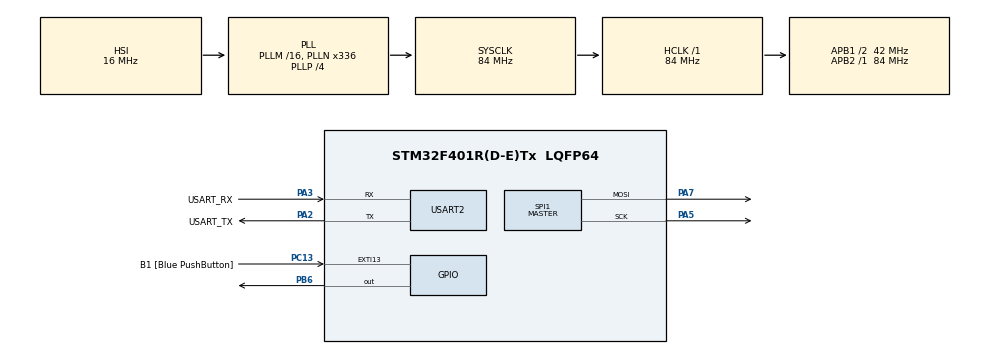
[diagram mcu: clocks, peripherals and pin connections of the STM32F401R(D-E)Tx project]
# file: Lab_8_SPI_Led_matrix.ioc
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Mcu.Family=STM32F4
Mcu.Name=STM32F401R(D-E)Tx
Mcu.Package=LQFP64
NVIC.PriorityGroup=NVIC_PRIORITYGROUP_0
NVIC.TIM1_UP_TIM10_IRQn=true\:0\:0\:false\:false\:true\:true\:true\:true
PA13.GPIO_Label=TMS
PA13.Mode=Serial_Wire
PA13.Signal=SYS_JTMS-SWDIO
PA14.GPIO_Label=TCK
PA14.Mode=Serial_Wire
PA14.Signal=SYS_JTCK-SWCLK
PA2.GPIO_Label=USART_TX
PA2.GPIO_Mode=GPIO_MODE_AF_PP
PA2.GPIO_PuPd=GPIO_NOPULL
PA2.GPIO_Speed=GPIO_SPEED_FREQ_LOW
PA2.Mode=Asynchronous
PA2.Signal=USART2_TX
PA3.GPIO_Label=USART_RX
PA3.GPIO_Mode=GPIO_MODE_AF_PP
PA3.GPIO_PuPd=GPIO_NOPULL
PA3.GPIO_Speed=GPIO_SPEED_FREQ_LOW
PA3.Mode=Asynchronous
PA3.Signal=USART2_RX
PA5.Mode=TX_Only_Simplex_Unidirect_Master
PA5.Signal=SPI1_SCK
PA7.Mode=TX_Only_Simplex_Unidirect_Master
PA7.Signal=SPI1_MOSI
PB3.GPIO_Label=SWO
PB3.Signal=SYS_JTDO-SWO
PB6.Signal=GPIO_Output
PC13-ANTI_TAMP.GPIO_Label=B1 [Blue PushButton]
PC13-ANTI_TAMP.GPIO_ModeDefaultEXTI=GPIO_MODE_IT_FALLING
PC13-ANTI_TAMP.GPIO_PuPd=GPIO_NOPULL
PC13-ANTI_TAMP.Signal=GPXTI13
PC14-OSC32_IN.Mode=LSE-External-Oscillator
PC14-OSC32_IN.Signal=RCC_OSC32_IN
PC15-OSC32_OUT.Mode=LSE-External-Oscillator
PC15-OSC32_OUT.Signal=RCC_OSC32_OUT
PH0\ -\ OSC_IN.Mode=HSE-External-Clock-Source
PH0\ -\ OSC_IN.Signal=RCC_OSC_IN
PH1\ -\ OSC_OUT.Mode=HSE-External-Clock-Source
PH1\ -\ OSC_OUT.Signal=RCC_OSC_OUT
ProjectManager.HeapSize=0x200
ProjectManager.StackSize=0x400
ProjectManager.TargetToolchain=STM32CubeIDE
RCC.48MHZClocksFreq_Value=48000000
RCC.AHBFreq_Value=84000000
RCC.APB1CLKDivider=RCC_HCLK_DIV2
RCC.APB1Freq_Value=42000000
RCC.APB1TimFreq_Value=84000000
RCC.APB2Freq_Value=84000000
RCC.APB2TimFreq_Value=84000000
RCC.CortexFreq_Value=84000000
RCC.HCLKFreq_Value=84000000
RCC.HSE_VALUE=8000000
RCC.HSI_VALUE=16000000
RCC.PLLN=336
RCC.PLLP=RCC_PLLP_DIV4
RCC.PLLQ=7
RCC.SYSCLKFreq_VALUE=84000000
RCC.SYSCLKSource=RCC_SYSCLKSOURCE_PLLCLK
RCC.VCOOutputFreq_Value=336000000
SPI1.BaudRatePrescaler=SPI_BAUDRATEPRESCALER_4
SPI1.Direction=SPI_DIRECTION_2LINES
SPI1.Mode=SPI_MODE_MASTER
SPI1.VirtualType=VM_MASTER
TIM10.Period=4000-1
TIM10.Prescaler=84-1
USART2.VirtualMode=VM_ASYNC
VP_TIM10_VS_ClockSourceINT.Mode=Enable_Timer
board=NUCLEO-F401RE

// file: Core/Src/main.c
/* USER CODE BEGIN Header */
/**
  ******************************************************************************
  * @file           : main.c
  * @brief          : Main program body
  ******************************************************************************
  * @attention
  *
  * Copyright (c) 2023 STMicroelectronics.
  * All rights reserved.
  *
  * This software is licensed under terms that can be found in the LICENSE file
  * in the root directory of this software component.
  * If no LICENSE file comes with this software, it is provided AS-IS.
  *
  ******************************************************************************
  */
/* USER CODE END Header */
#include "main.h"

/* USER CODE BEGIN PD */
#define RCLK_PIN GPIOB, GPIO_PIN_6
/* USER CODE END PD */

SPI_HandleTypeDef hspi1;

TIM_HandleTypeDef htim10;

UART_HandleTypeDef huart2;

/* USER CODE BEGIN PV */
int column_index = 0;

uint8_t matrix [5][2] ={
		{31,16}, //y0 content (row), address (column)
		{36,8}, //y1
		{68,4}, //y2
		{36,2}, //y3
		{31,1} //y4
};
/* USER CODE END PV */

void SystemClock_Config(void);
static void MX_GPIO_Init(void);
static void MX_USART2_UART_Init(void);
static void MX_SPI1_Init(void);
static void MX_TIM10_Init(void);

/* USER CODE BEGIN 0 */
void HAL_TIM_PeriodElapsedCallback (TIM_HandleTypeDef *htim){
	if(htim==&htim10){
		HAL_SPI_Transmit(&hspi1, matrix[column_index], 2, 10);
		HAL_GPIO_WritePin(RCLK_PIN, GPIO_PIN_SET);
		if(++column_index>4)
			column_index=0;
		HAL_GPIO_WritePin(RCLK_PIN, GPIO_PIN_RESET);
	}
}
/* USER CODE END 0 */

int main(void)
{

  /* MCU Configuration--------------------------------------------------------*/

  /* Reset of all peripherals, Initializes the Flash interface and the Systick. */
  HAL_Init();

  /* Configure the system clock */
  SystemClock_Config();

  /* Initialize all configured peripherals */
  MX_GPIO_Init();
  MX_USART2_UART_Init();
  MX_SPI1_Init();
  MX_TIM10_Init();
  /* USER CODE BEGIN 2 */
HAL_TIM_Base_Start_IT(&htim10);
  /* USER CODE END 2 */

  /* Infinite loop */
  while (1)
  {

  }
}

void SystemClock_Config(void)
{
  RCC_OscInitTypeDef RCC_OscInitStruct = {0};
  RCC_ClkInitTypeDef RCC_ClkInitStruct = {0};

  /** Configure the main internal regulator output voltage
  */
  __HAL_RCC_PWR_CLK_ENABLE();
  __HAL_PWR_VOLTAGESCALING_CONFIG(PWR_REGULATOR_VOLTAGE_SCALE2);

  /** Initializes the RCC Oscillators according to the specified parameters
  * in the RCC_OscInitTypeDef structure.
  */
  RCC_OscInitStruct.OscillatorType = RCC_OSCILLATORTYPE_HSI;
  RCC_OscInitStruct.HSIState = RCC_HSI_ON;
  RCC_OscInitStruct.HSICalibrationValue = RCC_HSICALIBRATION_DEFAULT;
  RCC_OscInitStruct.PLL.PLLState = RCC_PLL_ON;
  RCC_OscInitStruct.PLL.PLLSource = RCC_PLLSOURCE_HSI;
  RCC_OscInitStruct.PLL.PLLM = 16;
  RCC_OscInitStruct.PLL.PLLN = 336;
  RCC_OscInitStruct.PLL.PLLP = RCC_PLLP_DIV4;
  RCC_OscInitStruct.PLL.PLLQ = 7;
  if (HAL_RCC_OscConfig(&RCC_OscInitStruct) != HAL_OK)
  {
    Error_Handler();
  }

  /** Initializes the CPU, AHB and APB buses clocks
  */
  RCC_ClkInitStruct.ClockType = RCC_CLOCKTYPE_HCLK|RCC_CLOCKTYPE_SYSCLK
                              |RCC_CLOCKTYPE_PCLK1|RCC_CLOCKTYPE_PCLK2;
  RCC_ClkInitStruct.SYSCLKSource = RCC_SYSCLKSOURCE_PLLCLK;
  RCC_ClkInitStruct.AHBCLKDivider = RCC_SYSCLK_DIV1;
  RCC_ClkInitStruct.APB1CLKDivider = RCC_HCLK_DIV2;
  RCC_ClkInitStruct.APB2CLKDivider = RCC_HCLK_DIV1;

  if (HAL_RCC_ClockConfig(&RCC_ClkInitStruct, FLASH_LATENCY_2) != HAL_OK)
  {
    Error_Handler();
  }
}

static void MX_SPI1_Init(void)
{

  /* SPI1 parameter configuration*/
  hspi1.Instance = SPI1;
  hspi1.Init.Mode = SPI_MODE_MASTER;
  hspi1.Init.Direction = SPI_DIRECTION_2LINES;
  hspi1.Init.DataSize = SPI_DATASIZE_8BIT;
  hspi1.Init.CLKPolarity = SPI_POLARITY_LOW;
  hspi1.Init.CLKPhase = SPI_PHASE_1EDGE;
  hspi1.Init.NSS = SPI_NSS_SOFT;
  hspi1.Init.BaudRatePrescaler = SPI_BAUDRATEPRESCALER_4;
  hspi1.Init.FirstBit = SPI_FIRSTBIT_MSB;
  hspi1.Init.TIMode = SPI_TIMODE_DISABLE;
  hspi1.Init.CRCCalculation = SPI_CRCCALCULATION_DISABLE;
  hspi1.Init.CRCPolynomial = 10;
  if (HAL_SPI_Init(&hspi1) != HAL_OK)
  {
    Error_Handler();
  }

}

static void MX_TIM10_Init(void)
{

  htim10.Instance = TIM10;
  htim10.Init.Prescaler = 84-1;
  htim10.Init.CounterMode = TIM_COUNTERMODE_UP;
  htim10.Init.Period = 4000-1;
  htim10.Init.ClockDivision = TIM_CLOCKDIVISION_DIV1;
  htim10.Init.AutoReloadPreload = TIM_AUTORELOAD_PRELOAD_DISABLE;
  if (HAL_TIM_Base_Init(&htim10) != HAL_OK)
  {
    Error_Handler();
  }

}

static void MX_USART2_UART_Init(void)
{

  huart2.Instance = USART2;
  huart2.Init.BaudRate = 115200;
  huart2.Init.WordLength = UART_WORDLENGTH_8B;
  huart2.Init.StopBits = UART_STOPBITS_1;
  huart2.Init.Parity = UART_PARITY_NONE;
  huart2.Init.Mode = UART_MODE_TX_RX;
  huart2.Init.HwFlowCtl = UART_HWCONTROL_NONE;
  huart2.Init.OverSampling = UART_OVERSAMPLING_16;
  if (HAL_UART_Init(&huart2) != HAL_OK)
  {
    Error_Handler();
  }

}

static void MX_GPIO_Init(void)
{
  GPIO_InitTypeDef GPIO_InitStruct = {0};

  /* GPIO Ports Clock Enable */
  __HAL_RCC_GPIOC_CLK_ENABLE();
  __HAL_RCC_GPIOH_CLK_ENABLE();
  __HAL_RCC_GPIOA_CLK_ENABLE();
  __HAL_RCC_GPIOB_CLK_ENABLE();

  /*Configure GPIO pin Output Level */
  HAL_GPIO_WritePin(GPIOB, GPIO_PIN_6, GPIO_PIN_RESET);

  /*Configure GPIO pin : B1_Pin */
  GPIO_InitStruct.Pin = B1_Pin;
  GPIO_InitStruct.Mode = GPIO_MODE_IT_FALLING;
  GPIO_InitStruct.Pull = GPIO_NOPULL;
  HAL_GPIO_Init(B1_GPIO_Port, &GPIO_InitStruct);

  /*Configure GPIO pin : PB6 */
  GPIO_InitStruct.Pin = GPIO_PIN_6;
  GPIO_InitStruct.Mode = GPIO_MODE_OUTPUT_PP;
  GPIO_InitStruct.Pull = GPIO_NOPULL;
  GPIO_InitStruct.Speed = GPIO_SPEED_FREQ_LOW;
  HAL_GPIO_Init(GPIOB, &GPIO_InitStruct);

}

void Error_Handler(void)
{
  __disable_irq();
  while (1)
  {
  }
}
